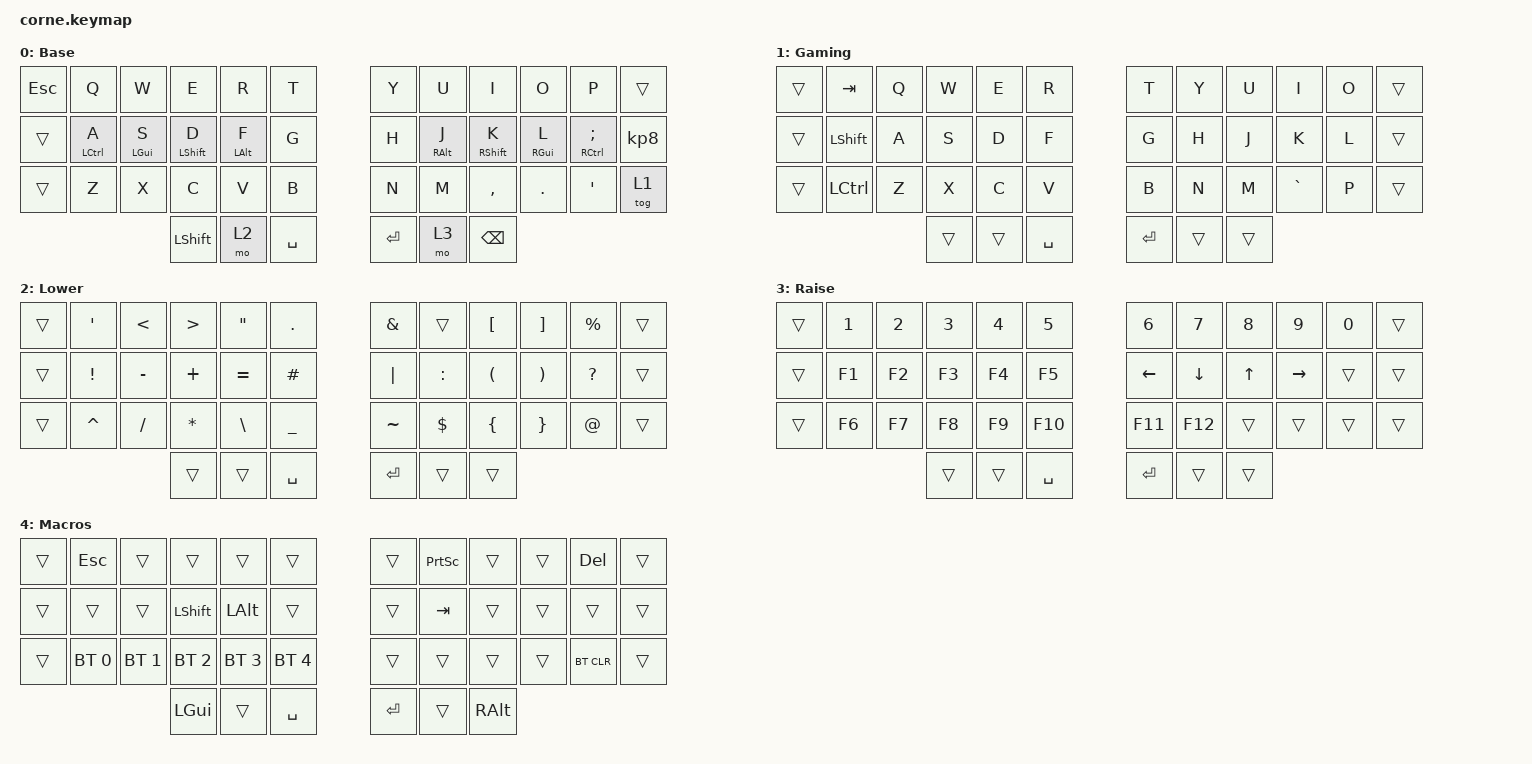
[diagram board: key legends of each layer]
/*
 * Copyright (c) 2020 The ZMK Contributors
 *
 * SPDX-License-Identifier: MIT
 */

#include <behaviors.dtsi>
#include <dt-bindings/zmk/bt.h>
#include <dt-bindings/zmk/keys.h>

/ {
    behaviors {
        hm: homerow_mods {
            compatible = "zmk,behavior-hold-tap";
            #binding-cells = <2>;
            tapping-term-ms = <200>;
            quick-tap-ms = <200>;
            require-prior-idle-ms = <200>;
            flavor = "tap-preferred";
            bindings = <&kp>, <&kp>;
        };
    };

    combos {
        compatible = "zmk,combos";

        macroLayer {
            bindings = <&mo 4>;
            key-positions = <37 40>;
        };
    };

    keymap {
        compatible = "zmk,keymap";

        default_layer {
            // -----------------------------------------------------------------------------------------
            // |  TAB |  Q  |  W  |  E  |  R  |  T  |   |  Y  |  U   |  I  |  O  |  P  | BKSP |
            // | CTRL |  A  |  S  |  D  |  F  |  G  |   |  H  |  J   |  K  |  L  |  ;  |  '   |
            // | SHFT |  Z  |  X  |  C  |  V  |  B  |   |  N  |  M   |  ,  |  .  |  /  | ESC  |
            //                    | GUI | LWR | SPC |   | ENT | RSE  | ALT |

            display-name = "Base";
            bindings = <
&kp ESCAPE  &kp Q        &kp W       &kp E           &kp R       &kp T        &kp Y    &kp U       &kp I          &kp O       &kp P           &trans
&trans      &hm LCTRL A  &hm LGUI S  &hm LSHFT D     &hm LALT F  &kp G        &kp H    &hm RALT J  &hm RSHFT K    &hm RGUI L  &hm RCTRL SEMI  &kp KP_NUMBER_8
&trans      &kp Z        &kp X       &kp C           &kp V       &kp B        &kp N    &kp M       &kp COMMA      &kp DOT     &kp APOSTROPHE  &tog 1
                                     &kp LEFT_SHIFT  &mo 2       &kp SPACE    &kp RET  &mo 3       &kp BACKSPACE
            >;
        };

        gaming {
            // -----------------------------------------------------------------------------------------
            // |  TAB |  Q  |  W  |  E  |  R  |  T  |   |  Y  |  U   |  I  |  O  |  P  | BKSP |
            // | SHFT |  A  |  S  |  D  |  F  |  G  |   |  H  |  J   |  K  |  L  |  ;  |  '   |
            // | CTRL |  Z  |  X  |  C  |  V  |  B  |   |  N  |  M   |  ,  |  .  |  /  | ESC  |
            //                    | GUI | LWR | SPC |   | ENT | RSE  | ALT |

            display-name = "Gaming";
            bindings = <
&trans  &kp TAB    &kp Q  &kp W   &kp E   &kp R        &kp T    &kp Y   &kp U   &kp I      &kp O  &trans
&trans  &kp LSHFT  &kp A  &kp S   &kp D   &kp F        &kp G    &kp H   &kp J   &kp K      &kp L  &trans
&trans  &kp LCTRL  &kp Z  &kp X   &kp C   &kp V        &kp B    &kp N   &kp M   &kp GRAVE  &kp P  &trans
                          &trans  &trans  &kp SPACE    &kp RET  &trans  &trans
            >;
        };

        lower_layer {
            // -----------------------------------------------------------------------------------------
            // |  TAB |  !  |  @  |  #  |  $  |  %  |   |  ^  |  &  |  *  |  (  |  )  | BKSP |
            // | CTRL |  '  |  <  |  >  |  "  |  .  |   |  |  |  :  |  (  |  )  |  ?  |  ~   |
            // | SHFT |  ^  |  /  |  *  |  \  |  _  |   |  ~  |  $  |  {  |  }  |  @  | ESC  |
            //                    | GUI |     | SPC |   | ENT |     | ALT |

            display-name = "Lower";
            bindings = <
&trans  &kp APOSTROPHE  &kp LESS_THAN  &kp GREATER_THAN  &kp DOUBLE_QUOTES  &kp PERIOD    &kp AMPS   &trans     &kp LEFT_BRACKET  &kp RIGHT_BRACKET  &kp PERCENT  &trans
&trans  &kp EXCL        &kp MINUS      &kp PLUS          &kp EQUAL          &kp POUND     &kp PIPE   &kp COLON  &kp LPAR          &kp RPAR           &kp QMARK    &trans
&trans  &kp CARET       &kp FSLH       &kp ASTRK         &kp BSLH           &kp UNDER     &kp TILDE  &kp DLLR   &kp LBRC          &kp RBRC           &kp AT       &trans
                                       &trans            &trans             &kp SPACE     &kp RET    &trans     &trans
            >;
        };

        raise_layer {
            // -----------------------------------------------------------------------------------------
            // |  TAB |  1  |  2  |  3  |  4  |  5  |   |  6  |  7  |  8  |  9  |  0  | BKSP |
            // | CTRL | F1  | F2  | F3  | F4  | F5  |   | LFT | DWN |  UP | RGT |     |      |
            // | SHFT | F6  | F7  | F8  | F9  | F10 |   | F11 | F12 |     |     |     |      |
            //                    | GUI |     | SPC |   | ENT |     | ALT |

            display-name = "Raise";
            bindings = <
&trans  &kp N1  &kp N2  &kp N3  &kp N4  &kp N5       &kp N6    &kp N7    &kp N8  &kp N9     &kp N0  &trans
&trans  &kp F1  &kp F2  &kp F3  &kp F4  &kp F5       &kp LEFT  &kp DOWN  &kp UP  &kp RIGHT  &trans  &trans
&trans  &kp F6  &kp F7  &kp F8  &kp F9  &kp F10      &kp F11   &kp F12   &trans  &trans     &trans  &trans
                        &trans  &trans  &kp SPACE    &kp RET   &trans    &trans
            >;
        };

        macros {
            // -----------------------------------------------------------------------------------------
            // |  TAB | ESC |     |     |     |     |   |     | PRSC |     |     | DEL | BKSP |
            // | CTRL |     |     | SHFT| ALT |     |   |     | TAB  | TOG1|     |     |  '   |
            // | SHFT | BT1 | BT2 | BT3 | BT4 | BT5 |   |     |      |     |     | CLR | ESC  |
            //                    | GUI |     | SPC |   | ENT |     | ALT |

            display-name = "Macros";
            bindings = <
&trans  &kp ESC       &trans        &trans        &trans        &trans          &trans   &kp PSCRN  &trans    &trans  &kp DEL     &trans
&trans  &trans        &trans        &kp LSHFT     &kp LALT      &trans          &trans   &kp TAB    &trans    &trans  &trans      &trans
&trans  &bt BT_SEL 0  &bt BT_SEL 1  &bt BT_SEL 2  &bt BT_SEL 3  &bt BT_SEL 4    &trans   &trans     &trans    &trans  &bt BT_CLR  &trans
                                    &kp LGUI      &trans        &kp SPACE       &kp RET  &trans     &kp RALT
            >;
        };
    };
};
